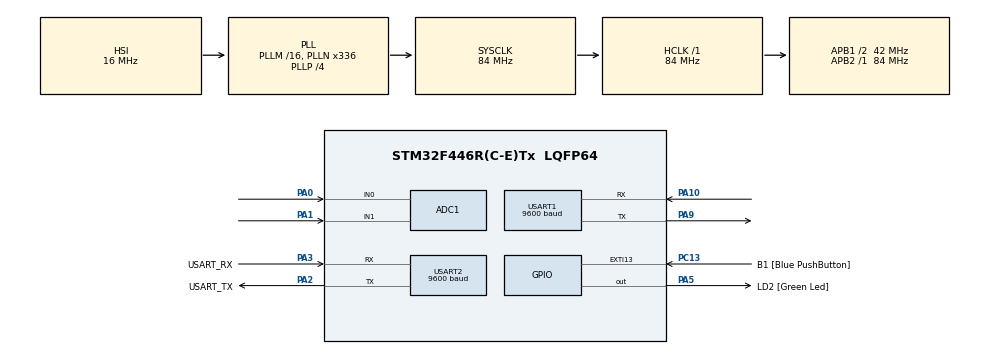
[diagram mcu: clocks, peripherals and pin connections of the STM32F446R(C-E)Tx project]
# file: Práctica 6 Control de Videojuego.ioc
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ADC1.Channel-0\#ChannelRegularConversion=ADC_CHANNEL_0
ADC1.Channel-3\#ChannelRegularConversion=ADC_CHANNEL_1
ADC1.ClockPrescaler=ADC_CLOCK_SYNC_PCLK_DIV8
ADC1.EOCSelection=ADC_EOC_SEQ_CONV
ADC1.InjNumberOfConversion=0
ADC1.NbrOfConversion=2
ADC1.NbrOfConversionFlag=1
ADC1.Rank-0\#ChannelRegularConversion=1
ADC1.Rank-3\#ChannelRegularConversion=2
ADC1.SamplingTime-0\#ChannelRegularConversion=ADC_SAMPLETIME_480CYCLES
ADC1.SamplingTime-3\#ChannelRegularConversion=ADC_SAMPLETIME_480CYCLES
ADC1.ScanConvMode=ENABLE
ADC1.master=1
Dma.ADC1.0.Direction=DMA_PERIPH_TO_MEMORY
Dma.ADC1.0.FIFOMode=DMA_FIFOMODE_DISABLE
Dma.ADC1.0.Instance=DMA2_Stream0
Dma.ADC1.0.MemDataAlignment=DMA_MDATAALIGN_HALFWORD
Dma.ADC1.0.MemInc=DMA_MINC_ENABLE
Dma.ADC1.0.Mode=DMA_NORMAL
Dma.ADC1.0.PeriphDataAlignment=DMA_PDATAALIGN_HALFWORD
Dma.ADC1.0.PeriphInc=DMA_PINC_DISABLE
Dma.ADC1.0.Priority=DMA_PRIORITY_LOW
Dma.Request0=ADC1
Mcu.Family=STM32F4
Mcu.Name=STM32F446R(C-E)Tx
Mcu.Package=LQFP64
NVIC.DMA2_Stream0_IRQn=true\:0\:0\:false\:false\:true\:false\:true\:true
NVIC.PriorityGroup=NVIC_PRIORITYGROUP_0
NVIC.USART1_IRQn=true\:0\:0\:false\:false\:true\:true\:true\:true
PA0-WKUP.Signal=ADCx_IN0
PA1.Signal=ADCx_IN1
PA10.Mode=Asynchronous
PA10.Signal=USART1_RX
PA13.GPIO_Label=TMS
PA13.Signal=SYS_JTMS-SWDIO
PA14.GPIO_Label=TCK
PA14.Signal=SYS_JTCK-SWCLK
PA2.GPIO_Label=USART_TX
PA2.Mode=Asynchronous
PA2.Signal=USART2_TX
PA3.GPIO_Label=USART_RX
PA3.Mode=Asynchronous
PA3.Signal=USART2_RX
PA5.GPIO_Label=LD2 [Green Led]
PA5.Signal=GPIO_Output
PA9.Mode=Asynchronous
PA9.Signal=USART1_TX
PB3.GPIO_Label=SWO
PB3.Signal=SYS_JTDO-SWO
PC13.GPIO_Label=B1 [Blue PushButton]
PC13.GPIO_ModeDefaultEXTI=GPIO_MODE_IT_FALLING
PC13.Signal=GPXTI13
PC14-OSC32_IN.Signal=RCC_OSC32_IN
PC15-OSC32_OUT.Signal=RCC_OSC32_OUT
PH0-OSC_IN.Signal=RCC_OSC_IN
PH1-OSC_OUT.Signal=RCC_OSC_OUT
ProjectManager.HeapSize=0x200
ProjectManager.StackSize=0x400
ProjectManager.TargetToolchain=STM32CubeIDE
RCC.AHBFreq_Value=84000000
RCC.APB1CLKDivider=RCC_HCLK_DIV2
RCC.APB1Freq_Value=42000000
RCC.APB1TimFreq_Value=84000000
RCC.APB2Freq_Value=84000000
RCC.APB2TimFreq_Value=84000000
RCC.CortexFreq_Value=84000000
RCC.FLatency-AdvancedSettings=FLASH_LATENCY_2
RCC.HCLKFreq_Value=84000000
RCC.HSE_VALUE=8000000
RCC.HSI_VALUE=16000000
RCC.LSE_VALUE=32768
RCC.PLLN=336
RCC.PLLP=RCC_PLLP_DIV4
RCC.SYSCLKFreq_VALUE=84000000
RCC.SYSCLKSource=RCC_SYSCLKSOURCE_PLLCLK
RCC.USBFreq_Value=168000000
RCC.VCOOutputFreq_Value=336000000
SH.ADCx_IN0.0=ADC1_IN0,IN0
SH.ADCx_IN1.0=ADC1_IN1,IN1
USART1.BaudRate=9600
USART1.VirtualMode=VM_ASYNC
USART2.BaudRate=9600
USART2.VirtualMode=VM_ASYNC
board=NUCLEO-F446RE

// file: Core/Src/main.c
/* USER CODE BEGIN Header */
/**
  ******************************************************************************
  * @file           : main.c
  * @brief          : Laboratorio 6 - Post Lab
  *                   Control 1: 2 potenciometros con ADC + DMA
  *                   Control 2: ATmega328P recibido por UART con interrupciones
  ******************************************************************************
  */
/* USER CODE END Header */

#include "main.h"

/* USER CODE BEGIN PD */

/*
 * El ADC es de 12 bits.
 *
 * Valor minimo = 0
 * Valor maximo = 4095
 *
 * La mitad del ADC es aproximadamente 2048.
 */
#define MITAD_ADC 2048

/* USER CODE END PD */

ADC_HandleTypeDef hadc1;
DMA_HandleTypeDef hdma_adc1;

UART_HandleTypeDef huart1;
UART_HandleTypeDef huart2;

/* USER CODE BEGIN PV */

/*
 * VARIABLES DEL CONTROL 1
 *
 * DMA guardara aqui las lecturas de los dos potenciometros.
 *
 * ADCValor[0] = Potenciometro 1 = PA0 = ADC1_IN0
 * ADCValor[1] = Potenciometro 2 = PA1 = ADC1_IN1
 */
uint16_t ADCValor[2];

/*
 * Bandera que nos indica que DMA termino
 * de leer los dos canales del ADC.
 *
 * 0 = no hay lectura nueva
 * 1 = lectura nueva disponible
 */
volatile uint8_t estadoADC = 0;

/*
 * Guardamos el estado anterior de cada potenciometro.
 *
 * Esto nos permite enviar un mensaje solamente cuando
 * el potenciometro cambia de direccion.
 *
 * Usamos 2 como estado inicial porque los estados
 * normales solamente seran 0 o 1.
 */
uint8_t estadoPot1Anterior = 2;
uint8_t estadoPot2Anterior = 2;

/*
 * VARIABLES DEL CONTROL 2
 *
 * rxATmega es donde USART1 guardara el byte
 * recibido desde el ATmega328P.
 *
 * El ATmega envia:
 *
 * U = Arriba
 * D = Abajo
 * R = Derecha
 * L = Izquierda
 * A = Accion A
 * B = Accion B
 */
uint8_t rxATmega = 0;

/*
 * Aqui guardamos una copia del ultimo comando
 * recibido desde el ATmega.
 */
volatile uint8_t comandoATmega = 0;

/*
 * Bandera que nos indica que USART1 recibio
 * un nuevo comando.
 *
 * 0 = no hay comando nuevo
 * 1 = hay comando nuevo
 */
volatile uint8_t estadoUART = 0;

/* USER CODE END PV */

void SystemClock_Config(void);
static void MX_GPIO_Init(void);
static void MX_DMA_Init(void);
static void MX_ADC1_Init(void);
static void MX_USART1_UART_Init(void);
static void MX_USART2_UART_Init(void);

int main(void)
{

  /* MCU Configuration--------------------------------------------------------*/

  /*
   * Inicializamos HAL y reiniciamos los perifericos.
   */
  HAL_Init();

  /*
   * Configuramos el reloj del microcontrolador.
   */
  SystemClock_Config();

  /*
   * Inicializamos todos los perifericos que
   * configuramos desde CubeMX.
   */
  MX_GPIO_Init();
  MX_DMA_Init();
  MX_ADC1_Init();
  MX_USART1_UART_Init();
  MX_USART2_UART_Init();

  /* USER CODE BEGIN 2 */

  /*
   * CONTROL 1
   *
   * Iniciamos ADC1 utilizando DMA.
   *
   * DMA realizara dos transferencias:
   *
   * ADCValor[0] = Potenciometro 1
   * ADCValor[1] = Potenciometro 2
   */
  HAL_ADC_Start_DMA(&hadc1, (uint32_t *)ADCValor, 2);

  /*
   * CONTROL 2
   *
   * Dejamos USART1 esperando UN byte enviado
   * por el ATmega328P.
   *
   * La terminacion "_IT" significa que la recepcion
   * se realiza utilizando INTERRUPCIONES.
   *
   *
   * Cuando llegue un byte se ejecutara automaticamente:
   *
   * HAL_UART_RxCpltCallback()
   */
  HAL_UART_Receive_IT(&huart1, &rxATmega, 1);

  /* USER CODE END 2 */

  /* Infinite loop */
  while (1)
  {

    /* USER CODE BEGIN 3 */

    /*
     * CONTROL 1
     * DOS POTENCIOMETROS CON ADC + DMA
     *
     * El callback del ADC coloca estadoADC = 1 cuando
     * DMA termina de obtener las dos lecturas.
     */
    if (estadoADC)
    {
      /*
       * Limpiamos la bandera porque ya vamos
       * a procesar la lectura.
       */
      estadoADC = 0;

      /*
       * Variables para guardar el estado actual
       * de cada potenciometro.
       *
       * 0 = mitad inferior
       * 1 = mitad superior
       */
      uint8_t estadoPot1Actual;
      uint8_t estadoPot2Actual;

      /*
       * POTENCIOMETRO 1
       *
       * Si ADCValor[0] esta arriba de la mitad:
       *
       * Arriba
       *
       * Si esta abajo de la mitad:
       *
       * Abajo
       */
      if (ADCValor[0] >= MITAD_ADC)
      {
        estadoPot1Actual = 1;
      }
      else
      {
        estadoPot1Actual = 0;
      }

      /*
       * Solo mandamos un mensaje si la direccion cambio.
       *
       * Esto evita llenar Hercules con el mismo mensaje
       * miles de veces.
       */
      if (estadoPot1Actual != estadoPot1Anterior)
      {
        /*
         * Guardamos el nuevo estado.
         */
        estadoPot1Anterior = estadoPot1Actual;

        /*
         * Revisamos cual direccion corresponde.
         */
        if (estadoPot1Actual == 1)
        {
          /*
           * Potenciometro 1 arriba de la mitad.
           */
          HAL_UART_Transmit(&huart2,
                            (uint8_t *)"Control 1: Arriba\r\n",
                            sizeof("Control 1: Arriba\r\n") - 1,
                            HAL_MAX_DELAY);
        }
        else
        {
          /*
           * Potenciometro 1 abajo de la mitad.
           */
          HAL_UART_Transmit(&huart2,
                            (uint8_t *)"Control 1: Abajo\r\n",
                            sizeof("Control 1: Abajo\r\n") - 1,
                            HAL_MAX_DELAY);
        }
      }

      /*
       * POTENCIOMETRO 2
       *
       * Si ADCValor[1] esta arriba de la mitad:
       *
       * Izquierda
       *
       * Si esta abajo de la mitad:
       *
       * Derecha
       */
      if (ADCValor[1] >= MITAD_ADC)
      {
        estadoPot2Actual = 1;
      }
      else
      {
        estadoPot2Actual = 0;
      }

      /*
       * Nuevamente solamente enviamos informacion
       * cuando cambia la direccion.
       */
      if (estadoPot2Actual != estadoPot2Anterior)
      {
        /*
         * Guardamos el nuevo estado.
         */
        estadoPot2Anterior = estadoPot2Actual;

        /*
         * Revisamos cual direccion corresponde.
         */
        if (estadoPot2Actual == 1)
        {
          /*
           * Potenciometro 2 arriba de la mitad.
           */
          HAL_UART_Transmit(&huart2,
                            (uint8_t *)"Control 1: Izquierda\r\n",
                            sizeof("Control 1: Izquierda\r\n") - 1,
                            HAL_MAX_DELAY);
        }
        else
        {
          /*
           * Potenciometro 2 abajo de la mitad.
           */
          HAL_UART_Transmit(&huart2,
                            (uint8_t *)"Control 1: Derecha\r\n",
                            sizeof("Control 1: Derecha\r\n") - 1,
                            HAL_MAX_DELAY);
        }
      }

      /*
       * Nuestro DMA esta configurado en modo NORMAL.
       *
       * Por eso, despues de terminar las dos conversiones,
       * tenemos que volver a iniciar ADC + DMA manualmente.
       *
       * Esto mantiene la misma estructura utilizada
       * en los ejemplos del profesor.
       */
      HAL_ADC_Start_DMA(&hadc1, (uint32_t *)ADCValor, 2);
    }

    /*
     * CONTROL 2
     * ATmega328P POR USART1
     *
     * Cuando USART1 recibe un byte por interrupcion,
     * el callback coloca estadoUART = 1.
     */
    if (estadoUART)
    {
      /*
       * Limpiamos la bandera porque ya vamos
       * a procesar el comando.
       */
      estadoUART = 0;

      /*
       * Revisamos cual caracter envio el ATmega.
       */
      switch (comandoATmega)
      {

        /*
         * U = Arriba
         */
        case 'U':

          HAL_UART_Transmit(&huart2,
                            (uint8_t *)"Control 2: Arriba\r\n",
                            sizeof("Control 2: Arriba\r\n") - 1,
                            HAL_MAX_DELAY);

          break;

        /*
         * D = Abajo
         */
        case 'D':

          HAL_UART_Transmit(&huart2,
                            (uint8_t *)"Control 2: Abajo\r\n",
                            sizeof("Control 2: Abajo\r\n") - 1,
                            HAL_MAX_DELAY);

          break;

        /*
         * R = Derecha
         */
        case 'R':

          HAL_UART_Transmit(&huart2,
                            (uint8_t *)"Control 2: Derecha\r\n",
                            sizeof("Control 2: Derecha\r\n") - 1,
                            HAL_MAX_DELAY);

          break;

        /*
         * L = Izquierda
         */
        case 'L':

          HAL_UART_Transmit(&huart2,
                            (uint8_t *)"Control 2: Izquierda\r\n",
                            sizeof("Control 2: Izquierda\r\n") - 1,
                            HAL_MAX_DELAY);

          break;

        /*
         * A = Accion A
         */
        case 'A':

          HAL_UART_Transmit(&huart2,
                            (uint8_t *)"Control 2: A\r\n",
                            sizeof("Control 2: A\r\n") - 1,
                            HAL_MAX_DELAY);

          break;

        /*
         * B = Accion B
         */
        case 'B':

          HAL_UART_Transmit(&huart2,
                            (uint8_t *)"Control 2: B\r\n",
                            sizeof("Control 2: B\r\n") - 1,
                            HAL_MAX_DELAY);

          break;

        /*
         * Si por alguna razon llega otro caracter,
         * simplemente lo ignoramos.
         */
        default:

          break;
      }
    }

  }

  /* USER CODE END 3 */
}

void SystemClock_Config(void)
{
  RCC_OscInitTypeDef RCC_OscInitStruct = {0};
  RCC_ClkInitTypeDef RCC_ClkInitStruct = {0};

  /*
   * Habilitamos el reloj del modulo de potencia.
   */
  __HAL_RCC_PWR_CLK_ENABLE();

  /*
   * Configuracion del regulador interno.
   */
  __HAL_PWR_VOLTAGESCALING_CONFIG(PWR_REGULATOR_VOLTAGE_SCALE3);

  /*
   * Configuramos el oscilador HSI y el PLL.
   */
  RCC_OscInitStruct.OscillatorType = RCC_OSCILLATORTYPE_HSI;
  RCC_OscInitStruct.HSIState = RCC_HSI_ON;
  RCC_OscInitStruct.HSICalibrationValue = RCC_HSICALIBRATION_DEFAULT;

  RCC_OscInitStruct.PLL.PLLState = RCC_PLL_ON;
  RCC_OscInitStruct.PLL.PLLSource = RCC_PLLSOURCE_HSI;
  RCC_OscInitStruct.PLL.PLLM = 16;
  RCC_OscInitStruct.PLL.PLLN = 336;
  RCC_OscInitStruct.PLL.PLLP = RCC_PLLP_DIV4;
  RCC_OscInitStruct.PLL.PLLQ = 2;
  RCC_OscInitStruct.PLL.PLLR = 2;

  if (HAL_RCC_OscConfig(&RCC_OscInitStruct) != HAL_OK)
  {
    Error_Handler();
  }

  /*
   * Configuramos los relojes principales.
   */
  RCC_ClkInitStruct.ClockType = RCC_CLOCKTYPE_HCLK |
                                RCC_CLOCKTYPE_SYSCLK |
                                RCC_CLOCKTYPE_PCLK1 |
                                RCC_CLOCKTYPE_PCLK2;

  RCC_ClkInitStruct.SYSCLKSource = RCC_SYSCLKSOURCE_PLLCLK;

  RCC_ClkInitStruct.AHBCLKDivider = RCC_SYSCLK_DIV1;

  RCC_ClkInitStruct.APB1CLKDivider = RCC_HCLK_DIV2;

  RCC_ClkInitStruct.APB2CLKDivider = RCC_HCLK_DIV1;

  if (HAL_RCC_ClockConfig(&RCC_ClkInitStruct,
                          FLASH_LATENCY_2) != HAL_OK)
  {
    Error_Handler();
  }
}

static void MX_ADC1_Init(void)
{

  ADC_ChannelConfTypeDef sConfig = {0};

  /*
   * CONFIGURACION GENERAL DEL ADC1
   */

  hadc1.Instance = ADC1;

  /*
   * Reloj del ADC:
   *
   * PCLK2 dividido entre 8.
   */
  hadc1.Init.ClockPrescaler = ADC_CLOCK_SYNC_PCLK_DIV8;

  /*
   * Resolucion de 12 bits.
   *
   * El ADC entregara valores entre 0 y 4095.
   */
  hadc1.Init.Resolution = ADC_RESOLUTION_12B;

  /*
   * Activamos Scan porque estamos utilizando
   * dos canales diferentes.
   */
  hadc1.Init.ScanConvMode = ENABLE;

  /*
   * No utilizamos conversion continua.
   *
   * Nosotros volveremos a iniciar DMA despues
   * de cada secuencia.
   */
  hadc1.Init.ContinuousConvMode = DISABLE;

  /*
   * No utilizamos modo discontinuo.
   */
  hadc1.Init.DiscontinuousConvMode = DISABLE;

  /*
   * La conversion sera iniciada por software.
   */
  hadc1.Init.ExternalTrigConvEdge = ADC_EXTERNALTRIGCONVEDGE_NONE;
  hadc1.Init.ExternalTrigConv = ADC_SOFTWARE_START;

  /*
   * Resultado alineado hacia la derecha.
   */
  hadc1.Init.DataAlign = ADC_DATAALIGN_RIGHT;

  /*
   * Tenemos dos conversiones:
   *
   * Rank 1 = Canal 0
   * Rank 2 = Canal 1
   */
  hadc1.Init.NbrOfConversion = 2;

  /*
   * DMA trabaja en modo normal.
   */
  hadc1.Init.DMAContinuousRequests = DISABLE;

  /*
   * La bandera de fin de conversion aparece
   * despues de terminar toda la secuencia.
   */
  hadc1.Init.EOCSelection = ADC_EOC_SEQ_CONV;

  if (HAL_ADC_Init(&hadc1) != HAL_OK)
  {
    Error_Handler();
  }

  /*
   * =========================================================
   * RANK 1
   * POTENCIOMETRO 1
   * PA0 = ADC1_IN0
   * =========================================================
   */

  sConfig.Channel = ADC_CHANNEL_0;

  sConfig.Rank = 1;

  sConfig.SamplingTime = ADC_SAMPLETIME_480CYCLES;

  if (HAL_ADC_ConfigChannel(&hadc1, &sConfig) != HAL_OK)
  {
    Error_Handler();
  }

  /*
   * RANK 2
   * POTENCIOMETRO 2
   * PA1 = ADC1_IN1
   */

  sConfig.Channel = ADC_CHANNEL_1;

  sConfig.Rank = 2;

  sConfig.SamplingTime = ADC_SAMPLETIME_480CYCLES;

  if (HAL_ADC_ConfigChannel(&hadc1, &sConfig) != HAL_OK)
  {
    Error_Handler();
  }

}

static void MX_USART1_UART_Init(void)
{

  /*
   * USART1
   *
   * USART1 se utiliza para recibir los comandos
   * enviados por el ATmega328P.
   *
   * PA10 = USART1_RX
   *
   * Configuracion:
   *
   * 9600 baudios
   * 8 bits
   * Sin paridad
   * 1 bit de parada
   */

  huart1.Instance = USART1;

  huart1.Init.BaudRate = 9600;

  huart1.Init.WordLength = UART_WORDLENGTH_8B;

  huart1.Init.StopBits = UART_STOPBITS_1;

  huart1.Init.Parity = UART_PARITY_NONE;

  huart1.Init.Mode = UART_MODE_TX_RX;

  huart1.Init.HwFlowCtl = UART_HWCONTROL_NONE;

  huart1.Init.OverSampling = UART_OVERSAMPLING_16;

  if (HAL_UART_Init(&huart1) != HAL_OK)
  {
    Error_Handler();
  }

}

static void MX_USART2_UART_Init(void)
{

  /*
   * USART2
   *
   * USART2 se utiliza para mandar los resultados
   * hacia Hercules en la computadora.
   *
   * Configuracion:
   *
   * 9600 baudios
   * 8 bits
   * Sin paridad
   * 1 bit de parada
   */

  huart2.Instance = USART2;

  huart2.Init.BaudRate = 9600;

  huart2.Init.WordLength = UART_WORDLENGTH_8B;

  huart2.Init.StopBits = UART_STOPBITS_1;

  huart2.Init.Parity = UART_PARITY_NONE;

  huart2.Init.Mode = UART_MODE_TX_RX;

  huart2.Init.HwFlowCtl = UART_HWCONTROL_NONE;

  huart2.Init.OverSampling = UART_OVERSAMPLING_16;

  if (HAL_UART_Init(&huart2) != HAL_OK)
  {
    Error_Handler();
  }

}

static void MX_DMA_Init(void)
{

  /*
   * Habilitamos el reloj del DMA2.
   */
  __HAL_RCC_DMA2_CLK_ENABLE();

  /*
   * Habilitamos la interrupcion de DMA2 Stream 0.
   *
   * Cuando termina la transferencia de las dos
   * lecturas ADC se genera una interrupcion.
   */
  HAL_NVIC_SetPriority(DMA2_Stream0_IRQn, 0, 0);

  HAL_NVIC_EnableIRQ(DMA2_Stream0_IRQn);
}

static void MX_GPIO_Init(void)
{

  GPIO_InitTypeDef GPIO_InitStruct = {0};

  /*
   * Habilitamos los relojes de los puertos GPIO.
   */
  __HAL_RCC_GPIOC_CLK_ENABLE();

  __HAL_RCC_GPIOH_CLK_ENABLE();

  __HAL_RCC_GPIOA_CLK_ENABLE();

  __HAL_RCC_GPIOB_CLK_ENABLE();

  /*
   */
  HAL_GPIO_WritePin(LD2_GPIO_Port,
                    LD2_Pin,
                    GPIO_PIN_RESET);

  /*
   */
  GPIO_InitStruct.Pin = B1_Pin;

  GPIO_InitStruct.Mode = GPIO_MODE_IT_FALLING;

  GPIO_InitStruct.Pull = GPIO_NOPULL;

  HAL_GPIO_Init(B1_GPIO_Port, &GPIO_InitStruct);

  /*
   */
  GPIO_InitStruct.Pin = LD2_Pin;

  GPIO_InitStruct.Mode = GPIO_MODE_OUTPUT_PP;

  GPIO_InitStruct.Pull = GPIO_NOPULL;

  GPIO_InitStruct.Speed = GPIO_SPEED_FREQ_LOW;

  HAL_GPIO_Init(LD2_GPIO_Port, &GPIO_InitStruct);

}

/* USER CODE BEGIN 4 */

/*
 * CALLBACK DEL ADC + DMA
 *
 * Esta funcion se ejecuta automaticamente cuando
 * DMA termina de guardar las dos conversiones del ADC.
 */
void HAL_ADC_ConvCpltCallback(ADC_HandleTypeDef *hadc)
{
  /*
   * Verificamos que el evento corresponda al ADC1.
   */
  if (hadc->Instance == ADC1)
  {
    /*
     * Avisamos al while que ya tenemos
     * una lectura nueva.
     */
    estadoADC = 1;
  }
}

/*
 * CALLBACK DE USART1
 *
 * Esta funcion se ejecuta automaticamente cuando
 * USART1 termina de recibir el byte enviado
 * por el ATmega328P.
 *
 * Esta es la parte que nos permite cumplir
 * con la recepcion UART POR INTERRUPCIONES.
 */
void HAL_UART_RxCpltCallback(UART_HandleTypeDef *huart)
{
  /*
   * Verificamos que el byte haya llegado
   * especificamente por USART1.
   */
  if (huart->Instance == USART1)
  {
    /*
     * Guardamos una copia del comando recibido.
     *
     * Puede ser:
     *
     * U, D, R, L, A o B.
     */
    comandoATmega = rxATmega;

    /*
     * Avisamos al while que hay un nuevo
     * comando disponible.
     */
    estadoUART = 1;

    /*
     * La funcion HAL_UART_Receive_IT recibe solamente
     * un byte cada vez.
     *
     * Por eso, despues de recibir un byte,
     * debemos volver a activar la recepcion para
     * esperar el siguiente comando.
     */
    HAL_UART_Receive_IT(&huart1, &rxATmega, 1);
  }
}

/* USER CODE END 4 */

void Error_Handler(void)
{

  /* USER CODE BEGIN Error_Handler_Debug */

  /*
   */
  __disable_irq();

  while (1)
  {
  }

  /* USER CODE END Error_Handler_Debug */
}

#ifdef USE_FULL_ASSERT

/**
  * @brief  Reports the name of the source file and the source line number
  *         where the assert_param error has occurred.
  * @param  file: pointer to the source file name
  * @param  line: assert_param error line source number
  * @retval None
  */
void assert_failed(uint8_t *file, uint32_t line)
{

  /* USER CODE BEGIN 6 */

  /*
   */

  /* USER CODE END 6 */
}

#endif /* USE_FULL_ASSERT */
